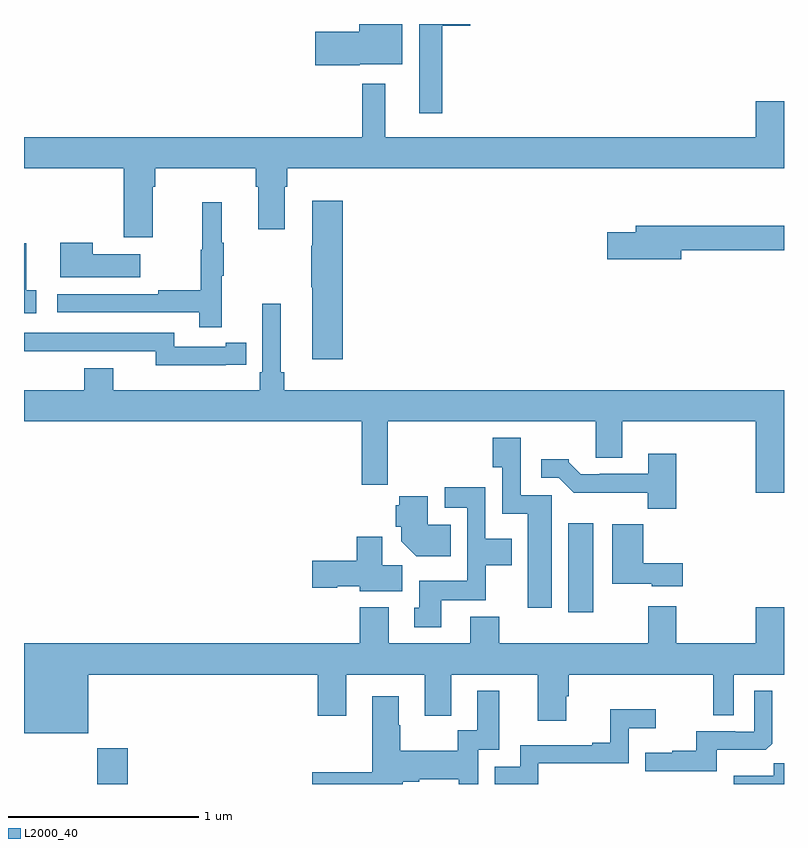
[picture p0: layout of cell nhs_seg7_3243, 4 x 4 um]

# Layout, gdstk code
import gdstk
lib = gdstk.Library(unit=1e-6, precision=1e-09)
def R(c, l, rs):  # rectangles x0, y0, x1, y1
    for r in rs: c.add(gdstk.rectangle(r[:2], r[2:], *l))
def P(c, l, *ps):  # polygons
    for p in ps: c.add(gdstk.Polygon(p, *l))
L2000_40 = (2000, 40)

nhs_seg7_3243 = lib.new_cell('nhs_seg7_3243')
R(nhs_seg7_3243, L2000_40, [(317.386,1040,317.546,1040.188), (319.865,1040.904,319.996,1041.373)])
P(nhs_seg7_3243, L2000_40, [(319.201,1043.99),(319.348,1043.99),(319.348,1044),(319.079,1044),(319.079,1043.529),(319.201,1043.529)],
  [(318.768,1043.789),(318.991,1043.789),(318.991,1044),(318.764,1044),(318.764,1043.96),(318.534,1043.96),(318.534,1043.782),(318.768,1043.782)],
  [(317.677,1043.144),(317.69,1043.144),(317.69,1043.24),(318.221,1043.24),(318.221,1043.144),(318.233,1043.144),(318.233,1042.92),(318.373,1042.92),(318.373,1043.144),(318.386,1043.144),(318.386,1043.24),(321,1043.24),(321,1043.593),(320.852,1043.593),(320.852,1043.404),(318.901,1043.404),(318.901,1043.686),(318.78,1043.686),(318.78,1043.404),(317,1043.404),(317,1043.24),(317.525,1043.24),(317.525,1042.878),(317.677,1042.878)],
  [(318.677,1043.071),(318.518,1043.071),(318.518,1042.832),(318.511,1042.832),(318.511,1042.615),(318.518,1042.615),(318.518,1042.236),(318.677,1042.236)],
  [(318.041,1042.675),(318.052,1042.675),(318.052,1042.849),(318.041,1042.849),(318.041,1043.062),(317.938,1043.062),(317.938,1042.812),(317.931,1042.812),(317.931,1042.598),(317.707,1042.598),(317.707,1042.578),(317.175,1042.578),(317.175,1042.482),(317.923,1042.482),(317.923,1042.404),(318.041,1042.404)],
  [(320.458,1042.81),(321,1042.81),(321,1042.939),(320.219,1042.939),(320.219,1042.905),(320.07,1042.905),(320.07,1042.763),(320.458,1042.763)],
  [(317.611,1042.789),(317.363,1042.789),(317.363,1042.849),(317.192,1042.849),(317.192,1042.667),(317.611,1042.667)],
  [(317.065,1042.599),(317.012,1042.599),(317.012,1042.846),(317,1042.846),(317,1042.478),(317.065,1042.478)],
  [(321,1042.072),(318.371,1042.072),(318.371,1042.168),(318.352,1042.168),(318.352,1042.528),(318.255,1042.528),(318.255,1042.168),(318.242,1042.168),(318.242,1042.072),(317.47,1042.072),(317.47,1042.189),(317.318,1042.189),(317.318,1042.072),(317,1042.072),(317,1041.908),(318.778,1041.908),(318.778,1041.576),(318.914,1041.576),(318.914,1041.908),(320.009,1041.908),(320.009,1041.718),(320.149,1041.718),(320.149,1041.908),(320.852,1041.908),(320.852,1041.534),(321,1041.534)],
  [(318.062,1042.206),(318.17,1042.206),(318.17,1042.322),(318.062,1042.322),(318.062,1042.302),(317.79,1042.302),(317.79,1042.374),(317,1042.374),(317,1042.277),(317.234,1042.277),(317.234,1042.278),(317.694,1042.278),(317.694,1042.205),(318.062,1042.205)],
  [(319.777,1041.519),(319.614,1041.519),(319.614,1041.823),(319.466,1041.823),(319.466,1041.667),(319.518,1041.667),(319.518,1041.422),(319.652,1041.422),(319.652,1040.928),(319.777,1040.928)],
  [(320.433,1041.739),(320.285,1041.739),(320.285,1041.633),(320.029,1041.633),(320.029,1041.63),(319.93,1041.63),(319.866,1041.694),(319.866,1041.709),(319.722,1041.709),(319.722,1041.612),(319.815,1041.612),(319.894,1041.534),(320.283,1041.534),(320.283,1041.449),(320.433,1041.449)],
  [(319.195,1040.966),(319.431,1040.966),(319.431,1041.152),(319.567,1041.152),(319.567,1041.292),(319.428,1041.292),(319.428,1041.562),(319.215,1041.562),(319.215,1041.453),(319.332,1041.453),(319.332,1041.07),(319.079,1041.07),(319.079,1040.928),(319.055,1040.928),(319.055,1040.826),(319.195,1040.826)],
  [(319.247,1041.364),(319.126,1041.364),(319.126,1041.514),(318.974,1041.514),(318.974,1041.468),(318.956,1041.468),(318.956,1041.354),(318.986,1041.354),(318.986,1041.278),(319.064,1041.2),(319.247,1041.2)],
  [(320.467,1041.163),(320.258,1041.163),(320.258,1041.367),(320.096,1041.367),(320.096,1041.053),(320.304,1041.053),(320.304,1041.041),(320.467,1041.041)],
  [(318.991,1041.152),(318.886,1041.152),(318.886,1041.301),(318.752,1041.301),(318.752,1041.176),(318.516,1041.176),(318.516,1041.034),(318.648,1041.034),(318.648,1041.041),(318.768,1041.041),(318.768,1041.014),(318.991,1041.014)],
  [(317.338,1040.576),(318.545,1040.576),(318.545,1040.358),(318.697,1040.358),(318.697,1040.576),(319.109,1040.576),(319.109,1040.358),(319.249,1040.358),(319.249,1040.576),(319.703,1040.576),(319.703,1040.334),(319.855,1040.334),(319.855,1040.463),(319.868,1040.463),(319.868,1040.576),(320.628,1040.576),(320.628,1040.362),(320.736,1040.362),(320.736,1040.576),(321,1040.576),(321,1040.929),(320.852,1040.929),(320.852,1040.74),(320.433,1040.74),(320.433,1040.935),(320.285,1040.935),(320.285,1040.74),(319.502,1040.74),(319.502,1040.881),(319.349,1040.881),(319.349,1040.74),(318.919,1040.74),(318.919,1040.929),(318.767,1040.929),(318.767,1040.74),(317,1040.74),(317,1040.267),(317.338,1040.267)],
  [(320.647,1040.18),(320.905,1040.18),(320.937,1040.211),(320.937,1040.491),(320.844,1040.491),(320.844,1040.274),(320.744,1040.274),(320.744,1040.277),(320.537,1040.277),(320.537,1040.176),(320.413,1040.176),(320.413,1040.164),(320.269,1040.164),(320.269,1040.067),(320.647,1040.067)],
  [(318.993,1040.012),(319.081,1040.012),(319.081,1040.024),(319.289,1040.024),(319.289,1040),(319.392,1040),(319.392,1040.181),(319.501,1040.181),(319.501,1040.491),(319.385,1040.491),(319.385,1040.282),(319.284,1040.282),(319.284,1040.176),(318.981,1040.176),(318.981,1040.31),(318.973,1040.31),(318.973,1040.461),(318.833,1040.461),(318.833,1040.061),(318.516,1040.061),(318.516,1040),(318.993,1040)],
  [(319.707,1040.109),(320.184,1040.109),(320.184,1040.294),(320.326,1040.294),(320.326,1040.393),(320.086,1040.393),(320.086,1040.218),(319.991,1040.218),(319.991,1040.205),(319.611,1040.205),(319.611,1040.091),(319.477,1040.091),(319.477,1040),(319.707,1040)],
  [(321,1040.108),(320.946,1040.108),(320.946,1040.044),(320.735,1040.044),(320.735,1040),(321,1040)])

lib.write_gds('nhs_seg7_3243.gds')
